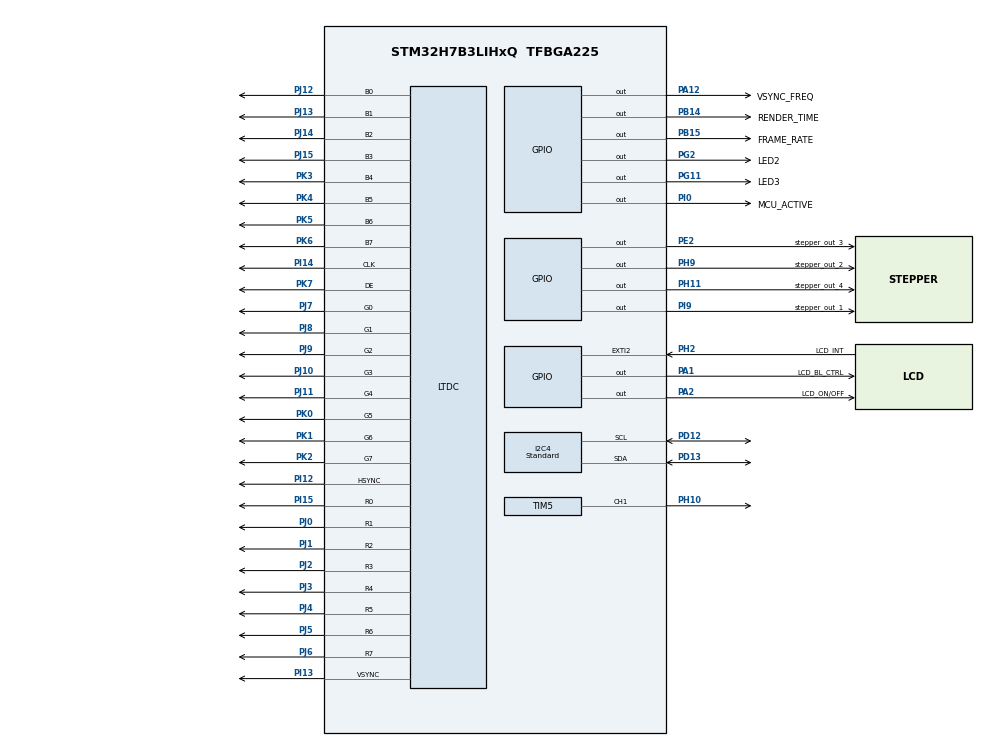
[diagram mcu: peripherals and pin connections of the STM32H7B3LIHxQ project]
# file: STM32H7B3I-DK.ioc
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CORTEX_M7.AccessPermission-Cortex_Memory_Protection_Unit_Region1_Settings=MPU_REGION_FULL_ACCESS
CORTEX_M7.AccessPermission-Cortex_Memory_Protection_Unit_Region2_Settings=MPU_REGION_FULL_ACCESS
CORTEX_M7.AccessPermission-Cortex_Memory_Protection_Unit_Region3_Settings=MPU_REGION_FULL_ACCESS
CORTEX_M7.BaseAddress-Cortex_Memory_Protection_Unit_Region0_Settings=0x90000000
CORTEX_M7.BaseAddress-Cortex_Memory_Protection_Unit_Region1_Settings=0x90000000
CORTEX_M7.BaseAddress-Cortex_Memory_Protection_Unit_Region2_Settings=0x24000000
CORTEX_M7.BaseAddress-Cortex_Memory_Protection_Unit_Region3_Settings=0x24000000
CORTEX_M7.CPU_DCache=Enabled
CORTEX_M7.CPU_ICache=Enabled
CORTEX_M7.DisableExec-Cortex_Memory_Protection_Unit_Region0_Settings=MPU_INSTRUCTION_ACCESS_DISABLE
CORTEX_M7.DisableExec-Cortex_Memory_Protection_Unit_Region1_Settings=MPU_INSTRUCTION_ACCESS_DISABLE
CORTEX_M7.DisableExec-Cortex_Memory_Protection_Unit_Region2_Settings=MPU_INSTRUCTION_ACCESS_DISABLE
CORTEX_M7.DisableExec-Cortex_Memory_Protection_Unit_Region3_Settings=MPU_INSTRUCTION_ACCESS_DISABLE
CORTEX_M7.Enable-Cortex_Memory_Protection_Unit_Region0_Settings=MPU_REGION_ENABLE
CORTEX_M7.Enable-Cortex_Memory_Protection_Unit_Region1_Settings=MPU_REGION_ENABLE
CORTEX_M7.Enable-Cortex_Memory_Protection_Unit_Region2_Settings=MPU_REGION_ENABLE
CORTEX_M7.Enable-Cortex_Memory_Protection_Unit_Region3_Settings=MPU_REGION_ENABLE
CORTEX_M7.IsBufferable-Cortex_Memory_Protection_Unit_Region3_Settings=MPU_ACCESS_BUFFERABLE
CORTEX_M7.IsCacheable-Cortex_Memory_Protection_Unit_Region1_Settings=MPU_ACCESS_CACHEABLE
CORTEX_M7.IsCacheable-Cortex_Memory_Protection_Unit_Region2_Settings=MPU_ACCESS_CACHEABLE
CORTEX_M7.IsCacheable-Cortex_Memory_Protection_Unit_Region3_Settings=MPU_ACCESS_CACHEABLE
CORTEX_M7.MPU_Control=MPU_PRIVILEGED_DEFAULT
CORTEX_M7.Size-Cortex_Memory_Protection_Unit_Region0_Settings=MPU_REGION_SIZE_256MB
CORTEX_M7.Size-Cortex_Memory_Protection_Unit_Region1_Settings=MPU_REGION_SIZE_64MB
CORTEX_M7.Size-Cortex_Memory_Protection_Unit_Region2_Settings=MPU_REGION_SIZE_1MB
CORTEX_M7.Size-Cortex_Memory_Protection_Unit_Region3_Settings=MPU_REGION_SIZE_256KB
DMA2D.ColorMode=DMA2D_OUTPUT_RGB565
FREERTOS.Tasks01=defaultTask,24,128,StartDefaultTask,Default,NULL,Dynamic,NULL,NULL;GUI_Task,24,4096,TouchGFX_Task,As external,NULL,Dynamic,NULL,NULL
FREERTOS.configTOTAL_HEAP_SIZE=32768
FREERTOS.configUSE_NEWLIB_REENTRANT=1
I2C4.Analog_Filter=I2C_ANALOGFILTER_DISABLE
I2C4.I2C_Fall_Time=0
I2C4.I2C_Rise_Time=0
I2C4.I2C_Speed_Mode=I2C_Standard
I2C4.Speed=100
I2C4.Timing=0x30808BD0
LTDC.ActiveH=272
LTDC.ActiveW=480
LTDC.Alpha_L0=255
LTDC.BlendingFactor1_L0=LTDC_BLENDING_FACTOR1_CA
LTDC.BlendingFactor2_L0=LTDC_BLENDING_FACTOR2_CA
LTDC.Blue_L0=255
LTDC.HBP=2
LTDC.HFP=32
LTDC.HSync=41
LTDC.ImageHeight_L0=272
LTDC.ImageWidth_L0=480
LTDC.Layers=0
LTDC.PixelFormat_L0=LTDC_PIXEL_FORMAT_RGB888
LTDC.VSync=10
LTDC.WindowX1_L0=480
LTDC.WindowY1_L0=272
Mcu.Family=STM32H7
Mcu.Name=STM32H7B3LIHxQ
Mcu.Package=TFBGA225
NVIC.DMA2D_IRQn=true\:5\:0\:true\:false\:true\:false\:true\:true
NVIC.EXTI2_IRQn=true\:5\:0\:false\:false\:true\:true\:true\:true
NVIC.LTDC_IRQn=true\:5\:0\:false\:false\:true\:true\:true\:true
NVIC.OCTOSPI1_IRQn=true\:5\:0\:false\:false\:true\:true\:true\:true
NVIC.PriorityGroup=NVIC_PRIORITYGROUP_4
NVIC.TIM5_IRQn=true\:5\:0\:true\:false\:true\:true\:true\:true
NVIC.TIM6_DAC_IRQn=true\:0\:0\:true\:false\:true\:false\:false\:true
NVIC.TimeBase=TIM6_DAC_IRQn
NVIC.TimeBaseIP=TIM6
OCTOSPI1.ChipSelectBoundary=0
OCTOSPI1.ChipSelectHighTime=2
OCTOSPI1.ClockPrescaler=3
OCTOSPI1.DeviceSize=26
OCTOSPI1.Refresh=0
PA1.GPIO_Label=LCD_BL_CTRL
PA1.GPIO_ModeDefaultOutputPP=GPIO_MODE_OUTPUT_PP
PA1.GPIO_PuPd=GPIO_NOPULL
PA1.GPIO_Speed=GPIO_SPEED_FREQ_LOW
PA1.PinState=GPIO_PIN_RESET
PA1.Signal=GPIO_Output
PA12.GPIO_Label=VSYNC_FREQ
PA12.Signal=GPIO_Output
PA2.GPIO_Label=LCD_ON/OFF
PA2.GPIO_ModeDefaultOutputPP=GPIO_MODE_OUTPUT_PP
PA2.GPIO_PuPd=GPIO_PULLUP
PA2.GPIO_Speed=GPIO_SPEED_FREQ_LOW
PA2.PinState=GPIO_PIN_RESET
PA2.Signal=GPIO_Output
PB14.GPIO_Label=RENDER_TIME
PB14.Signal=GPIO_Output
PB15.GPIO_Label=FRAME_RATE
PB15.Signal=GPIO_Output
PD12.GPIO_Pu=GPIO_PULLUP
PD12.GPIO_Speed=GPIO_SPEED_FREQ_HIGH
PD12.Mode=I2C
PD12.Signal=I2C4_SCL
PD13.GPIO_Pu=GPIO_PULLUP
PD13.GPIO_Speed=GPIO_SPEED_FREQ_HIGH
PD13.Mode=I2C
PD13.Signal=I2C4_SDA
PE2.GPIO_Label=stepper_out_3
PE2.Signal=GPIO_Output
PG11.GPIO_Label=LED3
PG11.Signal=GPIO_Output
PG2.GPIO_Label=LED2
PG2.Signal=GPIO_Output
PH0-OSC_IN.Mode=HSE-External-Oscillator
PH0-OSC_IN.Signal=RCC_OSC_IN
PH1-OSC_OUT.Mode=HSE-External-Oscillator
PH1-OSC_OUT.Signal=RCC_OSC_OUT
PH10.Signal=S_TIM5_CH1
PH11.GPIO_Label=stepper_out_4
PH11.Signal=GPIO_Output
PH2.GPIO_Label=LCD_INT
PH2.GPIO_PuPd=GPIO_PULLUP
PH2.Signal=GPXTI2
PH9.GPIO_Label=stepper_out_2
PH9.Signal=GPIO_Output
PI0.GPIO_Label=MCU_ACTIVE
PI0.Signal=GPIO_Output
PI12.Mode=RGB888
PI12.Signal=LTDC_HSYNC
PI13.Mode=RGB888
PI13.Signal=LTDC_VSYNC
PI14.Mode=RGB888
PI14.Signal=LTDC_CLK
PI15.Mode=RGB888
PI15.Signal=LTDC_R0
PI9.GPIO_Label=stepper_out_1
PI9.Signal=GPIO_Output
PJ0.Mode=RGB888
PJ0.Signal=LTDC_R1
PJ1.Mode=RGB888
PJ1.Signal=LTDC_R2
PJ10.Mode=RGB888
PJ10.Signal=LTDC_G3
PJ11.Mode=RGB888
PJ11.Signal=LTDC_G4
PJ12.Mode=RGB888
PJ12.Signal=LTDC_B0
PJ13.Mode=RGB888
PJ13.Signal=LTDC_B1
PJ14.Mode=RGB888
PJ14.Signal=LTDC_B2
PJ15.Mode=RGB888
PJ15.Signal=LTDC_B3
PJ2.Mode=RGB888
PJ2.Signal=LTDC_R3
PJ3.Mode=RGB888
PJ3.Signal=LTDC_R4
PJ4.Mode=RGB888
PJ4.Signal=LTDC_R5
PJ5.Mode=RGB888
PJ5.Signal=LTDC_R6
PJ6.Mode=RGB888
PJ6.Signal=LTDC_R7
PJ7.Mode=RGB888
PJ7.Signal=LTDC_G0
PJ8.Mode=RGB888
PJ8.Signal=LTDC_G1
PJ9.Mode=RGB888
PJ9.Signal=LTDC_G2
PK0.Mode=RGB888
PK0.Signal=LTDC_G5
PK1.Mode=RGB888
PK1.Signal=LTDC_G6
PK2.Mode=RGB888
PK2.Signal=LTDC_G7
PK3.Mode=RGB888
PK3.Signal=LTDC_B4
PK4.Mode=RGB888
PK4.Signal=LTDC_B5
PK5.Mode=RGB888
PK5.Signal=LTDC_B6
PK6.Mode=RGB888
PK6.Signal=LTDC_B7
PK7.GPIO_PuPd=GPIO_NOPULL
PK7.Mode=RGB888
PK7.Signal=LTDC_DE
ProjectManager.HeapSize=0x1000
ProjectManager.StackSize=0x1000
ProjectManager.TargetToolchain=STM32CubeIDE
RCC.ADCFreq_Value=133000000
RCC.APB1Freq_Value=140000000
RCC.APB2Freq_Value=140000000
RCC.APB3Freq_Value=140000000
RCC.APB4Freq_Value=140000000
RCC.CKPERSourceSelection=RCC_CLKPSOURCE_HSE
RCC.CortexFreq_Value=280000000
RCC.DIVM1=12
RCC.DIVM2=24
RCC.DIVM3=24
RCC.DIVN1=280
RCC.DIVN2=266
RCC.DIVN3=201
RCC.DIVR3=21
RCC.HCLKFreq_Value=140000000
RCC.HPRE=RCC_HCLK_DIV2
RCC.HSIDiv=RCC_PLLSAIDIVR_2
RCC.PLL2FRACN=0
RCC.PLL3FRACN=5462
RCC.PLLFRACN=0
RCC.PLLSourceVirtual=RCC_PLLSOURCE_HSE
RCC.PWR_Regulator_Voltage_Scale=PWR_REGULATOR_VOLTAGE_SCALE0
RCC.QSPICLockSelection=RCC_OSPICLKSOURCE_PLL2
RCC.SYSCLKFreq_VALUE=280000000
RCC.SYSCLKSource=RCC_SYSCLKSOURCE_PLLCLK
RCC.SupplySource=PWR_DIRECT_SMPS_SUPPLY
RCC.USBFreq_Value=280000000
SH.S_TIM5_CH1.0=TIM5_CH1,PWM Generation1 CH1
STMicroelectronics.X-CUBE-TOUCHGFX.4.18.0.ApplicationCcGraphicsJjApplication=TouchGFXOoGenerator
STMicroelectronics.X-CUBE-TOUCHGFX.4.18.0.tgfx_buffering_strategy=Double
STMicroelectronics.X-CUBE-TOUCHGFX.4.18.0.tgfx_display_interface=disp_ltdc
STMicroelectronics.X-CUBE-TOUCHGFX.4.18.0.tgfx_hardware_accelerator=dma_2d
STMicroelectronics.X-CUBE-TOUCHGFX.4.18.0.tgfx_vsync=vsync_ltdc
TIM5.AutoReloadPreload=TIM_AUTORELOAD_PRELOAD_DISABLE
TIM5.Channel-PWM\ Generation1\ CH1=TIM_CHANNEL_1
TIM5.Period=1000-1
TIM5.Prescaler=2800-1
TIM5.Pulse-PWM\ Generation1\ CH1=0
VP_CRC_VS_CRC.Mode=CRC_Activate
VP_DMA2D_VS_DMA2D.Mode=DMA2D_Activate
VP_FREERTOS_VS_CMSIS_V2.Mode=CMSIS_V2
VP_OCTOSPI1_VS_octo.Mode=octo_mode
VP_STMicroelectronics.X-CUBE-TOUCHGFX_VS_GraphicsJjApplication_4.18.0.Mode=GraphicsJjApplication
VP_SYS_VS_tim6.Mode=TIM6
VP_TIM5_VS_ClockSourceINT.Mode=Internal
board=custom

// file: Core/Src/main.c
/* USER CODE BEGIN Header */
/**
  ******************************************************************************
  * @file           : main.c
  * @brief          : Main program body
  ******************************************************************************
  * @attention
  *
  * <h2><center>&copy; Copyright (c) 2019 STMicroelectronics.
  * All rights reserved.</center></h2>
  *
  * This software component is licensed by ST under Ultimate Liberty license
  * SLA0044, the "License"; You may not use this file except in compliance with
  * the License. You may obtain a copy of the License at:
  *                             www.st.com/SLA0044
  *
  ******************************************************************************
  */
/* USER CODE END Header */
#include "main.h"
#include "cmsis_os.h"
#include "app_touchgfx.h"

/* USER CODE BEGIN Includes */
#include "stm32h7b3i_discovery_ospi.h"
/* USER CODE END Includes */

CRC_HandleTypeDef hcrc;

DMA2D_HandleTypeDef hdma2d;

I2C_HandleTypeDef hi2c4;

LTDC_HandleTypeDef hltdc;

OSPI_HandleTypeDef hospi1;

TIM_HandleTypeDef htim5;

/* Definitions for defaultTask */
osThreadId_t defaultTaskHandle;
const osThreadAttr_t defaultTask_attributes = {
  .name = "defaultTask",
  .stack_size = 128 * 4,
  .priority = (osPriority_t) osPriorityNormal,
};
/* Definitions for GUI_Task */
osThreadId_t GUI_TaskHandle;
const osThreadAttr_t GUI_Task_attributes = {
  .name = "GUI_Task",
  .stack_size = 4096 * 4,
  .priority = (osPriority_t) osPriorityNormal,
};

void SystemClock_Config(void);
static void MPU_Config(void);
static void MX_CRC_Init(void);
static void MX_GPIO_Init(void);
static void MX_DMA2D_Init(void);
static void MX_LTDC_Init(void);
static void MX_I2C4_Init(void);
static void MX_OCTOSPI1_Init(void);
static void MX_TIM5_Init(void);
void StartDefaultTask(void *argument);
extern void TouchGFX_Task(void *argument);

int main(void)
{

  /* MPU Configuration--------------------------------------------------------*/
  MPU_Config();

  /* Enable I-Cache---------------------------------------------------------*/
  SCB_EnableICache();

  /* Enable D-Cache---------------------------------------------------------*/
  SCB_EnableDCache();

  /* MCU Configuration--------------------------------------------------------*/

  /* Reset of all peripherals, Initializes the Flash interface and the Systick. */
  HAL_Init();

  /* Configure the system clock */
  SystemClock_Config();

  /* Initialize all configured peripherals */
  MX_CRC_Init();
  MX_GPIO_Init();
  MX_DMA2D_Init();
  MX_LTDC_Init();
  MX_I2C4_Init();
  MX_OCTOSPI1_Init();
  MX_TIM5_Init();
  MX_TouchGFX_Init();
  /* USER CODE BEGIN 2 */
  HAL_TIM_PWM_Start(&htim5, TIM_CHANNEL_1); // Add PWM Servo Motor
  /* USER CODE END 2 */

  /* Init scheduler */
  osKernelInitialize();

  /* Create the thread(s) */
  /* creation of defaultTask */
  defaultTaskHandle = osThreadNew(StartDefaultTask, NULL, &defaultTask_attributes);

  /* creation of GUI_Task */
  GUI_TaskHandle = osThreadNew(TouchGFX_Task, NULL, &GUI_Task_attributes);

  /* Start scheduler */
  osKernelStart();

  /* We should never get here as control is now taken by the scheduler */
  /* Infinite loop */
  while (1)
  {

  }
}

void SystemClock_Config(void)
{
  RCC_OscInitTypeDef RCC_OscInitStruct = {0};
  RCC_ClkInitTypeDef RCC_ClkInitStruct = {0};

  /** Supply configuration update enable
  */
  HAL_PWREx_ConfigSupply(PWR_DIRECT_SMPS_SUPPLY);
  /** Configure the main internal regulator output voltage
  */
  __HAL_PWR_VOLTAGESCALING_CONFIG(PWR_REGULATOR_VOLTAGE_SCALE0);

  while(!__HAL_PWR_GET_FLAG(PWR_FLAG_VOSRDY)) {}
  /** Macro to configure the PLL clock source
  */
  __HAL_RCC_PLL_PLLSOURCE_CONFIG(RCC_PLLSOURCE_HSE);
  /** Initializes the RCC Oscillators according to the specified parameters
  * in the RCC_OscInitTypeDef structure.
  */
  RCC_OscInitStruct.OscillatorType = RCC_OSCILLATORTYPE_HSE;
  RCC_OscInitStruct.HSEState = RCC_HSE_ON;
  RCC_OscInitStruct.PLL.PLLState = RCC_PLL_ON;
  RCC_OscInitStruct.PLL.PLLSource = RCC_PLLSOURCE_HSE;
  RCC_OscInitStruct.PLL.PLLM = 12;
  RCC_OscInitStruct.PLL.PLLN = 280;
  RCC_OscInitStruct.PLL.PLLP = 2;
  RCC_OscInitStruct.PLL.PLLQ = 2;
  RCC_OscInitStruct.PLL.PLLR = 2;
  RCC_OscInitStruct.PLL.PLLRGE = RCC_PLL1VCIRANGE_1;
  RCC_OscInitStruct.PLL.PLLVCOSEL = RCC_PLL1VCOWIDE;
  RCC_OscInitStruct.PLL.PLLFRACN = 0;
  if (HAL_RCC_OscConfig(&RCC_OscInitStruct) != HAL_OK)
  {
    Error_Handler();
  }
  /** Initializes the CPU, AHB and APB buses clocks
  */
  RCC_ClkInitStruct.ClockType = RCC_CLOCKTYPE_HCLK|RCC_CLOCKTYPE_SYSCLK
                              |RCC_CLOCKTYPE_PCLK1|RCC_CLOCKTYPE_PCLK2
                              |RCC_CLOCKTYPE_D3PCLK1|RCC_CLOCKTYPE_D1PCLK1;
  RCC_ClkInitStruct.SYSCLKSource = RCC_SYSCLKSOURCE_PLLCLK;
  RCC_ClkInitStruct.SYSCLKDivider = RCC_SYSCLK_DIV1;
  RCC_ClkInitStruct.AHBCLKDivider = RCC_HCLK_DIV2;
  RCC_ClkInitStruct.APB3CLKDivider = RCC_APB3_DIV1;
  RCC_ClkInitStruct.APB1CLKDivider = RCC_APB1_DIV1;
  RCC_ClkInitStruct.APB2CLKDivider = RCC_APB2_DIV1;
  RCC_ClkInitStruct.APB4CLKDivider = RCC_APB4_DIV1;

  if (HAL_RCC_ClockConfig(&RCC_ClkInitStruct, FLASH_LATENCY_3) != HAL_OK)
  {
    Error_Handler();
  }
}

static void MX_CRC_Init(void)
{

  hcrc.Instance = CRC;
  hcrc.Init.DefaultPolynomialUse = DEFAULT_POLYNOMIAL_ENABLE;
  hcrc.Init.DefaultInitValueUse = DEFAULT_INIT_VALUE_ENABLE;
  hcrc.Init.InputDataInversionMode = CRC_INPUTDATA_INVERSION_NONE;
  hcrc.Init.OutputDataInversionMode = CRC_OUTPUTDATA_INVERSION_DISABLE;
  hcrc.InputDataFormat = CRC_INPUTDATA_FORMAT_BYTES;
  if (HAL_CRC_Init(&hcrc) != HAL_OK)
  {
    Error_Handler();
  }

}

static void MX_DMA2D_Init(void)
{

  hdma2d.Instance = DMA2D;
  hdma2d.Init.Mode = DMA2D_M2M;
  hdma2d.Init.ColorMode = DMA2D_OUTPUT_RGB565;
  hdma2d.Init.OutputOffset = 0;
  hdma2d.LayerCfg[1].InputOffset = 0;
  hdma2d.LayerCfg[1].InputColorMode = DMA2D_INPUT_RGB565;
  hdma2d.LayerCfg[1].AlphaMode = DMA2D_NO_MODIF_ALPHA;
  hdma2d.LayerCfg[1].InputAlpha = 0;
  hdma2d.LayerCfg[1].AlphaInverted = DMA2D_REGULAR_ALPHA;
  hdma2d.LayerCfg[1].RedBlueSwap = DMA2D_RB_REGULAR;
  hdma2d.LayerCfg[1].ChromaSubSampling = DMA2D_NO_CSS;
  if (HAL_DMA2D_Init(&hdma2d) != HAL_OK)
  {
    Error_Handler();
  }
  if (HAL_DMA2D_ConfigLayer(&hdma2d, 1) != HAL_OK)
  {
    Error_Handler();
  }

}

static void MX_I2C4_Init(void)
{

  hi2c4.Instance = I2C4;
  hi2c4.Init.Timing = 0x30808BD0;
  hi2c4.Init.OwnAddress1 = 0;
  hi2c4.Init.AddressingMode = I2C_ADDRESSINGMODE_7BIT;
  hi2c4.Init.DualAddressMode = I2C_DUALADDRESS_DISABLE;
  hi2c4.Init.OwnAddress2 = 0;
  hi2c4.Init.OwnAddress2Masks = I2C_OA2_NOMASK;
  hi2c4.Init.GeneralCallMode = I2C_GENERALCALL_DISABLE;
  hi2c4.Init.NoStretchMode = I2C_NOSTRETCH_DISABLE;
  if (HAL_I2C_Init(&hi2c4) != HAL_OK)
  {
    Error_Handler();
  }
  /** Configure Analogue filter
  */
  if (HAL_I2CEx_ConfigAnalogFilter(&hi2c4, I2C_ANALOGFILTER_DISABLE) != HAL_OK)
  {
    Error_Handler();
  }
  /** Configure Digital filter
  */
  if (HAL_I2CEx_ConfigDigitalFilter(&hi2c4, 0) != HAL_OK)
  {
    Error_Handler();
  }

}

static void MX_LTDC_Init(void)
{

  LTDC_LayerCfgTypeDef pLayerCfg = {0};

  hltdc.Instance = LTDC;
  hltdc.Init.HSPolarity = LTDC_HSPOLARITY_AL;
  hltdc.Init.VSPolarity = LTDC_VSPOLARITY_AL;
  hltdc.Init.DEPolarity = LTDC_DEPOLARITY_AL;
  hltdc.Init.PCPolarity = LTDC_PCPOLARITY_IPC;
  hltdc.Init.HorizontalSync = 40;
  hltdc.Init.VerticalSync = 9;
  hltdc.Init.AccumulatedHBP = 42;
  hltdc.Init.AccumulatedVBP = 11;
  hltdc.Init.AccumulatedActiveW = 522;
  hltdc.Init.AccumulatedActiveH = 283;
  hltdc.Init.TotalWidth = 554;
  hltdc.Init.TotalHeigh = 285;
  hltdc.Init.Backcolor.Blue = 0;
  hltdc.Init.Backcolor.Green = 0;
  hltdc.Init.Backcolor.Red = 0;
  if (HAL_LTDC_Init(&hltdc) != HAL_OK)
  {
    Error_Handler();
  }
  pLayerCfg.WindowX0 = 0;
  pLayerCfg.WindowX1 = 480;
  pLayerCfg.WindowY0 = 0;
  pLayerCfg.WindowY1 = 272;
  pLayerCfg.PixelFormat = LTDC_PIXEL_FORMAT_RGB888;
  pLayerCfg.Alpha = 255;
  pLayerCfg.Alpha0 = 0;
  pLayerCfg.BlendingFactor1 = LTDC_BLENDING_FACTOR1_CA;
  pLayerCfg.BlendingFactor2 = LTDC_BLENDING_FACTOR2_CA;
  pLayerCfg.FBStartAdress = 0;
  pLayerCfg.ImageWidth = 480;
  pLayerCfg.ImageHeight = 272;
  pLayerCfg.Backcolor.Blue = 255;
  pLayerCfg.Backcolor.Green = 0;
  pLayerCfg.Backcolor.Red = 0;
  if (HAL_LTDC_ConfigLayer(&hltdc, &pLayerCfg, 0) != HAL_OK)
  {
    Error_Handler();
  }

}

static void MX_OCTOSPI1_Init(void)
{

  /* OCTOSPI1 parameter configuration*/
  hospi1.Instance = OCTOSPI1;
  hospi1.Init.FifoThreshold = 1;
  hospi1.Init.DualQuad = HAL_OSPI_DUALQUAD_DISABLE;
  hospi1.Init.MemoryType = HAL_OSPI_MEMTYPE_MICRON;
  hospi1.Init.DeviceSize = 26;
  hospi1.Init.ChipSelectHighTime = 2;
  hospi1.Init.FreeRunningClock = HAL_OSPI_FREERUNCLK_DISABLE;
  hospi1.Init.ClockMode = HAL_OSPI_CLOCK_MODE_0;
  hospi1.Init.WrapSize = HAL_OSPI_WRAP_NOT_SUPPORTED;
  hospi1.Init.ClockPrescaler = 3;
  hospi1.Init.SampleShifting = HAL_OSPI_SAMPLE_SHIFTING_NONE;
  hospi1.Init.DelayHoldQuarterCycle = HAL_OSPI_DHQC_DISABLE;
  hospi1.Init.ChipSelectBoundary = 0;
  hospi1.Init.ClkChipSelectHighTime = 0;
  hospi1.Init.DelayBlockBypass = HAL_OSPI_DELAY_BLOCK_BYPASSED;
  hospi1.Init.MaxTran = 0;
  hospi1.Init.Refresh = 0;
  if (HAL_OSPI_Init(&hospi1) != HAL_OK)
  {
    Error_Handler();
  }
  /* USER CODE BEGIN OCTOSPI1_Init 2 */
  BSP_OSPI_NOR_Init_t Flash;
  Flash.InterfaceMode = BSP_OSPI_NOR_OPI_MODE;
  Flash.TransferRate  = BSP_OSPI_NOR_DTR_TRANSFER;
  BSP_OSPI_NOR_DeInit(0);
  int32_t RetVal = BSP_OSPI_NOR_Init(0, &Flash);
  if(RetVal != BSP_ERROR_NONE)
  {
    Error_Handler();
  }
  RetVal = BSP_OSPI_NOR_EnableMemoryMappedMode(0);
  if(RetVal != BSP_ERROR_NONE)
  {
    Error_Handler();
  }
  /* USER CODE END OCTOSPI1_Init 2 */

}

static void MX_TIM5_Init(void)
{

  TIM_ClockConfigTypeDef sClockSourceConfig = {0};
  TIM_MasterConfigTypeDef sMasterConfig = {0};
  TIM_OC_InitTypeDef sConfigOC = {0};

  htim5.Instance = TIM5;
  htim5.Init.Prescaler = 2800-1;
  htim5.Init.CounterMode = TIM_COUNTERMODE_UP;
  htim5.Init.Period = 1000-1;
  htim5.Init.ClockDivision = TIM_CLOCKDIVISION_DIV1;
  htim5.Init.AutoReloadPreload = TIM_AUTORELOAD_PRELOAD_DISABLE;
  if (HAL_TIM_Base_Init(&htim5) != HAL_OK)
  {
    Error_Handler();
  }
  sClockSourceConfig.ClockSource = TIM_CLOCKSOURCE_INTERNAL;
  if (HAL_TIM_ConfigClockSource(&htim5, &sClockSourceConfig) != HAL_OK)
  {
    Error_Handler();
  }
  if (HAL_TIM_PWM_Init(&htim5) != HAL_OK)
  {
    Error_Handler();
  }
  sMasterConfig.MasterOutputTrigger = TIM_TRGO_RESET;
  sMasterConfig.MasterSlaveMode = TIM_MASTERSLAVEMODE_DISABLE;
  if (HAL_TIMEx_MasterConfigSynchronization(&htim5, &sMasterConfig) != HAL_OK)
  {
    Error_Handler();
  }
  sConfigOC.OCMode = TIM_OCMODE_PWM1;
  sConfigOC.Pulse = 0;
  sConfigOC.OCPolarity = TIM_OCPOLARITY_HIGH;
  sConfigOC.OCFastMode = TIM_OCFAST_DISABLE;
  if (HAL_TIM_PWM_ConfigChannel(&htim5, &sConfigOC, TIM_CHANNEL_1) != HAL_OK)
  {
    Error_Handler();
  }
  HAL_TIM_MspPostInit(&htim5);

}

static void MX_GPIO_Init(void)
{
  GPIO_InitTypeDef GPIO_InitStruct = {0};

  /* GPIO Ports Clock Enable */
  __HAL_RCC_GPIOK_CLK_ENABLE();
  __HAL_RCC_GPIOG_CLK_ENABLE();
  __HAL_RCC_GPIOJ_CLK_ENABLE();
  __HAL_RCC_GPIOI_CLK_ENABLE();
  __HAL_RCC_GPIOA_CLK_ENABLE();
  __HAL_RCC_GPIOE_CLK_ENABLE();
  __HAL_RCC_GPIOD_CLK_ENABLE();
  __HAL_RCC_GPIOH_CLK_ENABLE();
  __HAL_RCC_GPIOB_CLK_ENABLE();

  /*Configure GPIO pin Output Level */
  HAL_GPIO_WritePin(GPIOG, LED3_Pin|LED2_Pin, GPIO_PIN_RESET);

  /*Configure GPIO pin Output Level */
  HAL_GPIO_WritePin(GPIOI, MCU_ACTIVE_Pin|stepper_out_1_Pin, GPIO_PIN_RESET);

  /*Configure GPIO pin Output Level */
  HAL_GPIO_WritePin(GPIOA, VSYNC_FREQ_Pin|LCD_BL_CTRL_Pin|LCD_ON_OFF_Pin, GPIO_PIN_RESET);

  /*Configure GPIO pin Output Level */
  HAL_GPIO_WritePin(stepper_out_3_GPIO_Port, stepper_out_3_Pin, GPIO_PIN_RESET);

  /*Configure GPIO pin Output Level */
  HAL_GPIO_WritePin(GPIOB, RENDER_TIME_Pin|FRAME_RATE_Pin, GPIO_PIN_RESET);

  /*Configure GPIO pin Output Level */
  HAL_GPIO_WritePin(GPIOH, stepper_out_2_Pin|stepper_out_4_Pin, GPIO_PIN_RESET);

  /*Configure GPIO pins : LED3_Pin LED2_Pin */
  GPIO_InitStruct.Pin = LED3_Pin|LED2_Pin;
  GPIO_InitStruct.Mode = GPIO_MODE_OUTPUT_PP;
  GPIO_InitStruct.Pull = GPIO_NOPULL;
  GPIO_InitStruct.Speed = GPIO_SPEED_FREQ_LOW;
  HAL_GPIO_Init(GPIOG, &GPIO_InitStruct);

  /*Configure GPIO pins : MCU_ACTIVE_Pin stepper_out_1_Pin */
  GPIO_InitStruct.Pin = MCU_ACTIVE_Pin|stepper_out_1_Pin;
  GPIO_InitStruct.Mode = GPIO_MODE_OUTPUT_PP;
  GPIO_InitStruct.Pull = GPIO_NOPULL;
  GPIO_InitStruct.Speed = GPIO_SPEED_FREQ_LOW;
  HAL_GPIO_Init(GPIOI, &GPIO_InitStruct);

  /*Configure GPIO pins : VSYNC_FREQ_Pin LCD_BL_CTRL_Pin */
  GPIO_InitStruct.Pin = VSYNC_FREQ_Pin|LCD_BL_CTRL_Pin;
  GPIO_InitStruct.Mode = GPIO_MODE_OUTPUT_PP;
  GPIO_InitStruct.Pull = GPIO_NOPULL;
  GPIO_InitStruct.Speed = GPIO_SPEED_FREQ_LOW;
  HAL_GPIO_Init(GPIOA, &GPIO_InitStruct);

  /*Configure GPIO pin : stepper_out_3_Pin */
  GPIO_InitStruct.Pin = stepper_out_3_Pin;
  GPIO_InitStruct.Mode = GPIO_MODE_OUTPUT_PP;
  GPIO_InitStruct.Pull = GPIO_NOPULL;
  GPIO_InitStruct.Speed = GPIO_SPEED_FREQ_LOW;
  HAL_GPIO_Init(stepper_out_3_GPIO_Port, &GPIO_InitStruct);

  /*Configure GPIO pin : LCD_INT_Pin */
  GPIO_InitStruct.Pin = LCD_INT_Pin;
  GPIO_InitStruct.Mode = GPIO_MODE_IT_RISING;
  GPIO_InitStruct.Pull = GPIO_PULLUP;
  HAL_GPIO_Init(LCD_INT_GPIO_Port, &GPIO_InitStruct);

  /*Configure GPIO pins : RENDER_TIME_Pin FRAME_RATE_Pin */
  GPIO_InitStruct.Pin = RENDER_TIME_Pin|FRAME_RATE_Pin;
  GPIO_InitStruct.Mode = GPIO_MODE_OUTPUT_PP;
  GPIO_InitStruct.Pull = GPIO_NOPULL;
  GPIO_InitStruct.Speed = GPIO_SPEED_FREQ_LOW;
  HAL_GPIO_Init(GPIOB, &GPIO_InitStruct);

  /*Configure GPIO pins : stepper_out_2_Pin stepper_out_4_Pin */
  GPIO_InitStruct.Pin = stepper_out_2_Pin|stepper_out_4_Pin;
  GPIO_InitStruct.Mode = GPIO_MODE_OUTPUT_PP;
  GPIO_InitStruct.Pull = GPIO_NOPULL;
  GPIO_InitStruct.Speed = GPIO_SPEED_FREQ_LOW;
  HAL_GPIO_Init(GPIOH, &GPIO_InitStruct);

  /*Configure GPIO pin : LCD_ON_OFF_Pin */
  GPIO_InitStruct.Pin = LCD_ON_OFF_Pin;
  GPIO_InitStruct.Mode = GPIO_MODE_OUTPUT_PP;
  GPIO_InitStruct.Pull = GPIO_PULLUP;
  GPIO_InitStruct.Speed = GPIO_SPEED_FREQ_LOW;
  HAL_GPIO_Init(LCD_ON_OFF_GPIO_Port, &GPIO_InitStruct);

  /* EXTI interrupt init*/
  HAL_NVIC_SetPriority(EXTI2_IRQn, 5, 0);
  HAL_NVIC_EnableIRQ(EXTI2_IRQn);

}

/* USER CODE BEGIN 4 */
void main_switch_light_on(uint8_t turn_light_on)
{
	if (turn_light_on) {
		__HAL_TIM_SetCompare(&htim5, TIM_CHANNEL_1, 60);
	}
	else {
		__HAL_TIM_SetCompare(&htim5, TIM_CHANNEL_1, 90);
	}
}

void main_display_on(uint8_t turn_display_on)
{
	if (turn_display_on) {
		HAL_GPIO_WritePin(GPIOA, GPIO_PIN_1, GPIO_PIN_SET);
	}
	else {
		HAL_GPIO_WritePin(GPIOA, GPIO_PIN_1, GPIO_PIN_RESET);
	}
}
/* USER CODE END 4 */

void StartDefaultTask(void *argument)
{
  /* USER CODE BEGIN 5 */

  /* Infinite loop */
  for(;;)
  {
    osDelay(100);
  }
  /* USER CODE END 5 */
}

/* MPU Configuration */

void MPU_Config(void)
{
  MPU_Region_InitTypeDef MPU_InitStruct = {0};

  /* Disables the MPU */
  HAL_MPU_Disable();
  /** Initializes and configures the Region and the memory to be protected
  */
  MPU_InitStruct.Enable = MPU_REGION_ENABLE;
  MPU_InitStruct.Number = MPU_REGION_NUMBER0;
  MPU_InitStruct.BaseAddress = 0x90000000;
  MPU_InitStruct.Size = MPU_REGION_SIZE_256MB;
  MPU_InitStruct.SubRegionDisable = 0x0;
  MPU_InitStruct.TypeExtField = MPU_TEX_LEVEL0;
  MPU_InitStruct.AccessPermission = MPU_REGION_NO_ACCESS;
  MPU_InitStruct.DisableExec = MPU_INSTRUCTION_ACCESS_DISABLE;
  MPU_InitStruct.IsShareable = MPU_ACCESS_NOT_SHAREABLE;
  MPU_InitStruct.IsCacheable = MPU_ACCESS_NOT_CACHEABLE;
  MPU_InitStruct.IsBufferable = MPU_ACCESS_NOT_BUFFERABLE;

  HAL_MPU_ConfigRegion(&MPU_InitStruct);
  /** Initializes and configures the Region and the memory to be protected
  */
  MPU_InitStruct.Number = MPU_REGION_NUMBER1;
  MPU_InitStruct.Size = MPU_REGION_SIZE_64MB;
  MPU_InitStruct.AccessPermission = MPU_REGION_FULL_ACCESS;
  MPU_InitStruct.IsCacheable = MPU_ACCESS_CACHEABLE;

  HAL_MPU_ConfigRegion(&MPU_InitStruct);
  /** Initializes and configures the Region and the memory to be protected
  */
  MPU_InitStruct.Number = MPU_REGION_NUMBER2;
  MPU_InitStruct.BaseAddress = 0x24000000;
  MPU_InitStruct.Size = MPU_REGION_SIZE_1MB;

  HAL_MPU_ConfigRegion(&MPU_InitStruct);
  /** Initializes and configures the Region and the memory to be protected
  */
  MPU_InitStruct.Number = MPU_REGION_NUMBER3;
  MPU_InitStruct.Size = MPU_REGION_SIZE_256KB;
  MPU_InitStruct.IsBufferable = MPU_ACCESS_BUFFERABLE;

  HAL_MPU_ConfigRegion(&MPU_InitStruct);
  /* Enables the MPU */
  HAL_MPU_Enable(MPU_PRIVILEGED_DEFAULT);

}

void HAL_TIM_PeriodElapsedCallback(TIM_HandleTypeDef *htim)
{
  if (htim->Instance == TIM6) {
    HAL_IncTick();
  }
}

void Error_Handler(void)
{
}
